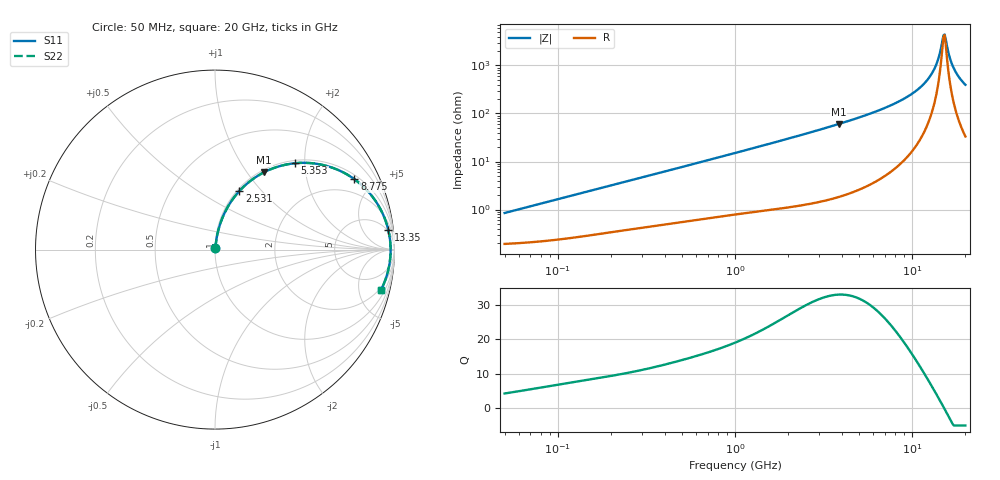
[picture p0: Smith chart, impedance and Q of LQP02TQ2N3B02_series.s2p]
!Murata Part Number: LQP02TQ2N3B02
!These Parameters are Measured in Series Mode Connection
!  o--[Z]--o
!Port1  Port2
!  o-------o
!Freq. Start=50[MHz] Stop=20[GHz], 401[Steps]
# Hz S RI R 50
!Freq.(Hz) S11(Real) S11(Imag) S21(Real) S21(Imag) S12(Real) S12(Imag) S22(Real) S22(Imag)
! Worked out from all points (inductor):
!   401 points, 50 MHz to 20 GHz, reference 50 ohm
!   read as one part in series: L = 2.62 nH near 51.52 MHz
!   highest Q = 33 at 3.85 GHz (marker M1), where L = 2.49 nH
!   self-resonance near 15.05 GHz
!   S11 on the Smith chart (normalised r, x): 50 MHz: 1.00, +0.02; 2.531 GHz: 1.03, +0.77; 5.353 GHz: 1.06, +1.79; 8.775 GHz: 1.19, +3.85; 13.35 GHz: 4, +17; 20 GHz: 1.67, -7.90
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5e7  0.00199 0.00822  0.998 -0.00822  0.998 -0.00822  0.00199 0.00822
1.364002e8  0.00322 0.0219  0.9968 -0.0219  0.9968 -0.0219  0.00322 0.0219
3.721004e8  0.00791 0.0568  0.9921 -0.0568  0.9921 -0.0568  0.00791 0.0568
1e9  0.0293 0.1446  0.9707 -0.1446  0.9707 -0.1446  0.0293 0.1446
2.531158e9  0.1359 0.3265  0.8641 -0.3265  0.8641 -0.3265  0.1359 0.3265
2.728004e9  0.1544 0.3455  0.8456 -0.3455  0.8456 -0.3455  0.1544 0.3455
3.850025e9  0.2729 0.4306  0.7271 -0.4306  0.7271 -0.4306  0.2729 0.4306
5.352748e9  0.4464 0.4813  0.5536 -0.4813  0.5536 -0.4813  0.4464 0.4813
7.442007e9  0.6661 0.4518  0.3339 -0.4518  0.3339 -0.4518  0.6661 0.4518
8.774992e9  0.7764 0.3924  0.2236 -0.3924  0.2236 -0.3924  0.7764 0.3924
1.131968e10  0.9142 0.2395  0.0858 -0.2395  0.0858 -0.2395  0.9142 0.2395
1.238412e10  0.9467 0.1709  0.0533 -0.1709  0.0533 -0.1709  0.9467 0.1709
1.334722e10  0.9654 0.1098  0.0346 -0.1098  0.0346 -0.1098  0.9654 0.1098
1.396067e10  0.9728 0.072  0.0272 -0.072  0.0272 -0.072  0.9728 0.072
1.482269e10  0.9779 0.0207  0.0221 -0.0207  0.0221 -0.0207  0.9779 0.0207
1.504638e10  0.9784 0.00776  0.0216 -0.00776  0.0216 -0.00776  0.9784 0.00776
1.527346e10  0.9785 -0.00515  0.0215 0.00515  0.0215 0.00515  0.9785 -0.00515
1.550395e10  0.9782 -0.0181  0.0218 0.0181  0.0218 0.0181  0.9782 -0.0181
1.646126e10  0.9738 -0.0695  0.0262 0.0695  0.0262 0.0695  0.9738 -0.0695
1.721783e10  0.9669 -0.1075  0.0331 0.1075  0.0331 0.1075  0.9669 -0.1075
1.855685e10  0.949 -0.169  0.051 0.169  0.051 0.169  0.949 -0.169
2e10  0.9234 -0.2272  0.0766 0.2272  0.0766 0.2272  0.9234 -0.2272
